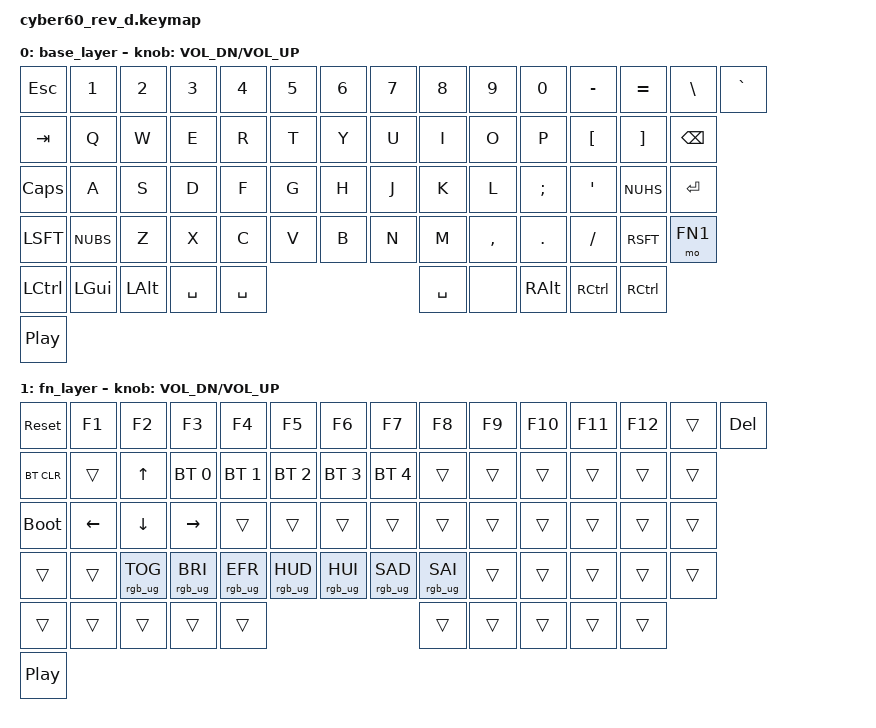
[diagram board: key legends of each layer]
#include <behaviors.dtsi>
#include <dt-bindings/zmk/keys.h>
#include <dt-bindings/zmk/bt.h>
#include <dt-bindings/zmk/outputs.h>
#include <dt-bindings/zmk/rgb.h>
#include <dt-bindings/zmk/ext_power.h>

#define FN1 1
/ {
	keymap {
		compatible = "zmk,keymap";
		base_layer {
				// Base layer
				// ------------------------------------------------------------------------------------------
				// | ESC |  1  |  2  |  3  |  4  |  5  |  6  |  7  |  8  |  9  |  0  |  -  |  =  |   BKSP   |
				// |  TAB |  Q  |  W  |  E  |  R  |  T  |  Y  |  U  |  I  |  O  |  P  |  [  |  ]  |   "|"   |
				// | CAPS  |  A  |  S  |  D  |  F  |  G  |  H  |  J  |  K  |  L  |  ;  |  '  |NUHS| ENTER   |
				// | SHIFT |NUBS| Z |  X  |  C  |  V  |  B  |  N  |  M  |  ,  |  .  |  /  |    Shift   | FN |
				// |  LCTL  |  LWIN  |  LALT  | SPACE  | SPACE |    SPACE   |  RALT | FN  |   RWIN  | RCTRL |
				// | Rotary | (<-- Rotary switch) ----------------------------------------------------------- 
			bindings = <
				&kp ESC		 &kp NUM_1 	&kp NUM_2	&kp NUM_3 	&kp NUM_4 &kp NUM_5 &kp NUM_6 	&kp NUM_7 	&kp NUM_8 &kp NUM_9	&kp NUM_0	&kp MINUS	&kp EQL  	&kp BSLH	&kp GRAVE
				&kp TAB		 &kp   Q   	&kp   W   	&kp   E   	&kp   R   &kp   T   &kp   Y   	&kp   U   	&kp   I   &kp   O   &kp   P   	&kp LBKT 	&kp RBKT	&kp BKSP
				&kp CLCK 	 &kp   A   	&kp   S   	&kp   D   	&kp   F   &kp   G   &kp   H   	&kp   J   	&kp   K   &kp   L   &kp  SCLN  	&kp QUOT   &kp NUHS	&kp RET
				&kp LSFT 	 &kp NUBS	&kp   Z   	&kp   X   	&kp   C   &kp   V   &kp   B   	&kp   N   	&kp   M   &kp  CMMA &kp  DOT  	&kp FSLH	&kp RSFT 	&mo FN1
				&kp LCTL 	 &kp LGUI   &kp   LALT				&kp SPC			&kp SPC			&kp  SPC  			  &none 	&kp  RALT 	&kp RCTL	&kp RCTL		
				&kp C_PP
			>;
			sensor-bindings = <&inc_dec_kp C_VOL_DN C_VOL_UP>;
		};
				fn_layer {
			// Function layer
			// ------------------------------------------------------------------------------------------
			// | RESET | F1 |  F2 |  F3 |  F4 |  F5 |  F6 |  F7 |  F8 |  F9 | F10 | F11 | F12 |TRNS | DEL |
			// |BT_CLR |TRNS | UP  | BT0 | BT1 | BT2 | BT3 | BT4 | TRNS | TRNS | TRNS | TRNS | TRNS | TRNS|
			// | BOOTL  |LEFT |DOWN |RIGHT|TRNS |TRNS |TRNS | TRNS| TRNS |TRNS| TRNS |TRNS | TRNS | TRNS  |
			// | TRNS |TRNS|TRNS|TRNS|TRNS | TRNS| TRNS | TRNS |  TRNS| TRNS | TRNS| TRNS |   TRNS   |TRNS|
			// |  TRNS | TRNS | TRNS |      TRNS      | TRNS |     TRNS     |  TRNS |  TRNS | TRNS | TRNS |
			// | Rotary | (<-- Rotary switch) ----------------------------------------------------------- 
			bindings = <
				&sys_reset 		&kp F1		&kp F2 	 		&kp F3			&kp F4			&kp F5			&kp F6			&kp F7			&kp F8			&kp F9			&kp F10		&kp F11		&kp F12		&trans	&kp DEL
				&bt BT_CLR		&trans  	&kp UP   		&bt BT_SEL 0  	&bt BT_SEL 1   	&bt BT_SEL 2	&bt BT_SEL 3   	&bt BT_SEL 4	&trans			&trans			&trans		&trans		&trans		&trans
				&bootloader 	&kp LEFT   	&kp DOWN		&kp RIGHT		&trans			&trans			&trans	&trans	&trans			&trans			&trans			&trans		&trans		&trans
				&trans 			&trans   	&rgb_ug RGB_TOG &rgb_ug RGB_BRI	&rgb_ug RGB_EFR	&rgb_ug RGB_HUD	&rgb_ug RGB_HUI	&rgb_ug RGB_SAD	&rgb_ug RGB_SAI	&trans			&trans		&trans		&trans 		&trans
				&trans 			&trans   	&trans             								&trans			&trans			&trans  										&trans  	&trans		&trans		&trans		
				&kp C_PP
			>;
			sensor-bindings = <&inc_dec_kp C_VOL_DN C_VOL_UP>;
		};
	};
};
